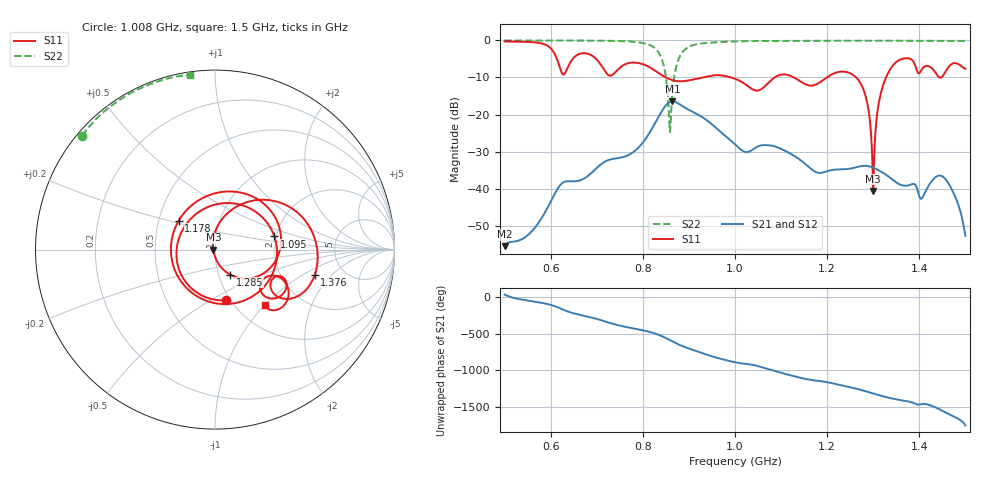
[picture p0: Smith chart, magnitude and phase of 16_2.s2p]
! TOUCHSTONE file generated by CST MICROWAVE STUDIO
! Date and time: Mon Nov 30 09:07:52 2020
! Project name: Scenario_1_Planar_Body_Tissue_Out_of_Line_v2.cst
! Parameters = {dy1=-86.5; L_HA=400; Ltissue=700; MT=2.54; Rad_Dielectric=30; Rad_Lower=7.3; Rad_Upper=30; Wtissue=700; a_HA=580; a_WG=246; b_HA=500; b_WG=121; c_HA=0; c_WG=187; d_feed=85; dx1=346; h_feed=15; h_lower=18; h_upper=40; hfat=3; hgap=25; hmuscle=50; hskin=1.5}
! Header version: 2018
! Port assignment regex: !\s*Touchstone port\s*([0-9]+)\s*=\s*(CST MWS port|CST DS port)\s*([0-9]+|Zmin|Zmax)\s*\(\"(.*)\"\)(\s*mode\s*([0-9]+))?.*
! Touchstone port assignment:
! Touchstone port 1 = CST MWS port 1 ("")
! Touchstone port 2 = CST MWS port 2 ("")
# GHz S DB R 50
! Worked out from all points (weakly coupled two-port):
!   1003 points, 500 MHz to 1.5 GHz, reference 50 ohm
!   highest |S21| = -16.45 dB at 864 MHz (marker M1); lowest = -55.5 dB at 500 MHz (marker M2)
!   lowest |S11| = -40.6 dB at 1.3 GHz (marker M3), VSWR 1.02, Z = 49.1 - j0.0184 ohm
!   |S11| at or under -10 dB: 850.2 MHz to 931.7 MHz (81.55 MHz wide, 9.15 % of centre); 991.5 MHz to 1.086 GHz (94.46 MHz wide, 9.09 % of centre); 1.128 GHz to 1.199 GHz (71.34 MHz wide, 6.13 % of centre)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
!   |S22| runs from -24.7 to 0.0 dB; largest |S21 - S12| = 3.1e-06
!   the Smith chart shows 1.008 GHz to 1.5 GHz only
!   S11 on the Smith chart (normalised r, x): 1.008 GHz: 0.96, -0.59; 1.095 GHz: 1.95, +0.32; 1.178 GHz: 0.63, +0.22; 1.285 GHz: 1.13, -0.32; 1.376 GHz: 3.10, -1.29; 1.5 GHz: 1.35, -1.00
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0.5  -0.29 -121.8  -55.50 33.7  -55.50 33.7  -0.01 151.1
0.667  -3.50 157.1  -37.59 110.8  -37.59 110.8  -0.04 138.4
0.717  -8.14 23.7  -32.75 28.4  -32.75 28.4  -0.09 132.7
0.741  -8.50 -97.2  -31.85 -16.5  -31.85 -16.5  -0.14 129.1
0.769  -6.11 176.7  -30.90 -56.2  -30.90 -56.2  -0.27 123.4
0.834  -8.79 29.1  -20.63 -155.2  -20.63 -155.2  -3.22 85.3
0.864  -10.71 -53.8  -16.45 112.8  -16.45 112.8  -14.43 -129.0
0.883  -11.03 -115.4  -17.47 56.8  -17.47 56.8  -3.69 -173.8
0.937  -9.86 84.4  -21.36 -63.8  -21.36 -63.8  -0.70 151.9
1  -10.35 -58.2  -28.02 -171.3  -28.02 -171.3  -0.26 140.4
1.008  -10.77 -77.4  -28.93 179.0  -28.93 179.0  -0.23 139.4
1.045  -13.52 167.7  -28.90 144.3  -28.90 144.3  -0.17 134.9
1.095  -9.40 12.5  -28.99 53.7  -28.99 53.7  -0.12 130.2
1.167  -12.18 174.5  -34.84 -54.9  -34.84 -54.9  -0.10 124.2
1.178  -11.75 141.3  -35.63 -63.5  -35.63 -63.5  -0.10 123.4
1.238  -8.44 17.6  -34.75 -135.3  -34.75 -135.3  -0.08 118.8
1.285  -15.77 -58.9  -33.83 149.7  -33.83 149.7  -0.08 115.2
1.3  -40.63 -178.8  -34.31 121.2  -34.31 121.2  -0.09 114.1
1.334  -8.40 46.9  -36.79 63.7  -36.79 63.7  -0.09 111.5
1.376  -4.83 -14.1  -39.10 13.4  -39.10 13.4  -0.09 108.3
1.453  -9.22 -24.7  -36.95 -123.7  -36.95 -123.7  -0.11 102.0
1.5  -7.65 -47.8  -52.73 45.6  -52.73 45.6  -0.13 98.0
